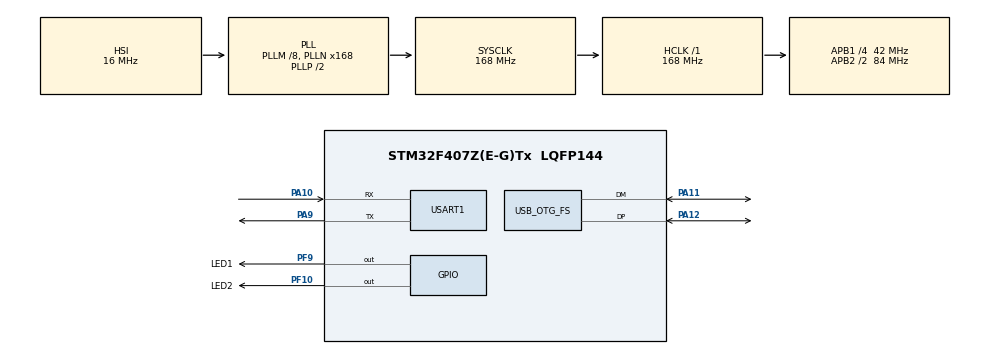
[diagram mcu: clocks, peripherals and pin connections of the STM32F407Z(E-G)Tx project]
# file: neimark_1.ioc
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Mcu.Family=STM32F4
Mcu.Name=STM32F407Z(E-G)Tx
Mcu.Package=LQFP144
NVIC.OTG_FS_IRQn=true\:0\:0\:false\:false\:true\:false\:true\:true
NVIC.PriorityGroup=NVIC_PRIORITYGROUP_4
PA10.Mode=Asynchronous
PA10.Signal=USART1_RX
PA11.Mode=Device_Only
PA11.Signal=USB_OTG_FS_DM
PA12.Mode=Device_Only
PA12.Signal=USB_OTG_FS_DP
PA9.Mode=Asynchronous
PA9.Signal=USART1_TX
PF10.GPIO_Label=LED2
PF10.Signal=GPIO_Output
PF9.GPIO_Label=LED1
PF9.Signal=GPIO_Output
ProjectManager.HeapSize=0x200
ProjectManager.StackSize=0x400
ProjectManager.TargetToolchain=CMake
RCC.48MHZClocksFreq_Value=48000000
RCC.AHBFreq_Value=168000000
RCC.APB1CLKDivider=RCC_HCLK_DIV4
RCC.APB1Freq_Value=42000000
RCC.APB1TimFreq_Value=84000000
RCC.APB2CLKDivider=RCC_HCLK_DIV2
RCC.APB2Freq_Value=84000000
RCC.APB2TimFreq_Value=168000000
RCC.CortexFreq_Value=168000000
RCC.HCLKFreq_Value=168000000
RCC.HSE_VALUE=25000000
RCC.HSI_VALUE=16000000
RCC.LSE_VALUE=32768
RCC.PLLM=8
RCC.PLLN=168
RCC.PLLQ=7
RCC.PLLSource=RCC_PLLSOURCE_HSI
RCC.PLLSourceVirtualString=RCC_PLLSOURCE_HSI
RCC.SYSCLKFreq_VALUE=168000000
RCC.SYSCLKSource=RCC_SYSCLKSOURCE_PLLCLK
RCC.VCOOutputFreq_Value=336000000
USART1.VirtualMode=VM_ASYNC
USB_DEVICE.CLASS_NAME_FS=CDC
USB_DEVICE.VirtualMode-CDC_FS=Cdc
USB_DEVICE.VirtualModeFS=Cdc_FS
USB_OTG_FS.VirtualMode=Device_Only
VP_USB_DEVICE_VS_USB_DEVICE_CDC_FS.Mode=CDC_FS
board=custom

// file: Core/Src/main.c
/* USER CODE BEGIN Header */
/**
  ******************************************************************************
  * @file           : main.c
  * @brief          : Main program body
  ******************************************************************************
  * @attention
  *
  * Copyright (c) 2024 STMicroelectronics.
  * All rights reserved.
  *
  * This software is licensed under terms that can be found in the LICENSE file
  * in the root directory of this software component.
  * If no LICENSE file comes with this software, it is provided AS-IS.
  *
  ******************************************************************************
  */
/* USER CODE END Header */
#include "main.h"
#include "usb_device.h"

/* USER CODE BEGIN Includes */
#include <usbd_cdc_if.h>
#include <stdint.h>
#include <stdio.h>
#include <unistd.h>
#include <string.h>
#include <stdlib.h>
#include "ring_buffer.h"
#include "jsmn.h"
/* USER CODE END Includes */

/* USER CODE BEGIN PD */
#define PUTCHAR_PROTOTYPE int __io_putchar(int ch)
#define CDC_TX_SINGLE_BUFF_MAXLEN 128
#define CDC_RX_TOTAL_BUFF_MAXLEN 1024
#define CDC_RX_SINGLE_BUFF_MAXLEN (CDC_RX_TOTAL_BUFF_MAXLEN / 8)
#define TOKEN_MAX_LEN 32
#define TOKENS_MAX_NUM 128
/* USER CODE END PD */

/* USER CODE BEGIN PM */
#ifdef TOKEN_DEBUG
#define PRINT_TOKEN(i,s) printf("token %d: type: %d start: %d end: %d value string: %s\n\r", (i), tokens[(i)].type, tokens[(i)].start, tokens[(i)].end, (s))
#else
#define PRINT_TOKEN(i,s) while(0)
#endif
/* USER CODE END PM */

UART_HandleTypeDef huart1;
/* USER CODE BEGIN PV */
char cdc_tx[CDC_TX_SINGLE_BUFF_MAXLEN];
char cdc_rx_total[CDC_RX_TOTAL_BUFF_MAXLEN];
char cdc_rx[CDC_RX_SINGLE_BUFF_MAXLEN];
RING_buffer_t cdc_rx_ring;
jsmn_parser jsonparser;
jsmntok_t tokens[TOKENS_MAX_NUM];

/* USER CODE END PV */

void SystemClock_Config(void);
static void MX_GPIO_Init(void);
static void MX_USART1_UART_Init(void);

/* USER CODE BEGIN 0 */
void token_load(char* str, int n, int str_size) {
  memset(str, 0x0, str_size);
  memcpy(str, (char*)(cdc_rx+tokens[n].start), (tokens[n].end-tokens[n].start));
}

int value_cmpnload(int* val, int n, char* token, const char* key) {
  if(!strcmp(token, key)) {
    if(tokens[n+1].type == JSMN_PRIMITIVE) {
      char nt[TOKEN_MAX_LEN];
      token_load(nt, n+1, TOKEN_MAX_LEN);
      *val = atoi(nt);
    } else {
      return -1;
    }
  }
  return 0;
}

int gpio_message_load(gpio_message_t* gpio_msg, int token_cnt_max) {
  for(int i = 3; i < token_cnt_max; i++) {
    char singletoken[TOKEN_MAX_LEN];
    token_load(singletoken, i, TOKEN_MAX_LEN);
    PRINT_TOKEN(i, singletoken);
    if(value_cmpnload((int*) &(gpio_msg->port), i, singletoken, gpioport_key)) {
      return -1;
    }
    if(value_cmpnload((int*) &(gpio_msg->pin), i, singletoken, gpiopin_key)) {
      return -2;
    }
    if(value_cmpnload((int*) &(gpio_msg->val), i, singletoken, gpioval_key)) {
      return -3;
    }
  }
  return 0;
}

void gen_ret_json(ret_result_t result, char* jsonstr) {
  sprintf(jsonstr, "{ \"result\" : %d }\n\r", result);
}
/* USER CODE END 0 */

int main(void)
{

  /* MCU Configuration--------------------------------------------------------*/

  /* Reset of all peripherals, Initializes the Flash interface and the Systick. */
  HAL_Init();

  /* Configure the system clock */
  SystemClock_Config();

  /* Initialize all configured peripherals */
  MX_GPIO_Init();
  MX_USART1_UART_Init();
  MX_USB_DEVICE_Init();
  /* USER CODE BEGIN 2 */
  RING_Init(&cdc_rx_ring, (uint8_t*) cdc_rx_total, CDC_RX_TOTAL_BUFF_MAXLEN);
  jsmn_init(&jsonparser);
  /* USER CODE END 2 */

  /* Infinite loop */
  for(;;)
  {

    /* USER CODE BEGIN 3 */
    uint16_t ring_cnt = RING_GetCount(&cdc_rx_ring);
    if(ring_cnt) {
      char cts[TOKEN_MAX_LEN] = {0, };   // current token string
      RING_PopString(&cdc_rx_ring, cdc_rx);
      int rc = jsmn_parse(&jsonparser, cdc_rx, strlen(cdc_rx), tokens, (sizeof(tokens)/sizeof(tokens[0])));
      if(rc > 0) {
        printf("json found\n\r");
        int if_type = -1;
        if(tokens[1].type == JSMN_STRING) {
          printf("if cmd found\n\r");
          token_load(cts, 1, TOKEN_MAX_LEN);
          value_cmpnload(&if_type, 1, cts, ifcmd);
        }
        switch(if_type) {
          case 0:
          printf("GPIO cmd found\n\r");
          gpio_message_t gpio_msg;
          rc = gpio_message_load(&gpio_msg, TOKENS_MAX_NUM);
          printf("gpio_message_load: rc = %d\n\r", rc);
          printf("GPIO port = %d\n\r", gpio_msg.port);
          printf("GPIO pin = %d\n\r", gpio_msg.pin);
          printf("GPIO val = %d\n\r", gpio_msg.val);
          HAL_GPIO_WritePin(gpio_msg.port, gpio_msg.pin, gpio_msg.val);
          // re-using cts string for memory saving
          if (HAL_GPIO_ReadPin(gpio_msg.port, gpio_msg.pin) == gpio_msg.val) {
            gen_ret_json(RET_OK, cts);
          } else {
            gen_ret_json(RET_ERR, cts);
          }
          break;

          default:
          printf("no compatible if found!\n\r");
          gen_ret_json(RET_ERR, cts);
          break;
        }
        CDC_Transmit_FS(cts, TOKEN_MAX_LEN);
      }
      memset(cdc_rx, 0x0, CDC_RX_SINGLE_BUFF_MAXLEN);
    }
    HAL_Delay(500);
  }
  /* USER CODE END 3 */
}

void SystemClock_Config(void)
{
  RCC_OscInitTypeDef RCC_OscInitStruct = {0};
  RCC_ClkInitTypeDef RCC_ClkInitStruct = {0};

  /** Configure the main internal regulator output voltage
  */
  __HAL_RCC_PWR_CLK_ENABLE();
  __HAL_PWR_VOLTAGESCALING_CONFIG(PWR_REGULATOR_VOLTAGE_SCALE1);

  /** Initializes the RCC Oscillators according to the specified parameters
  * in the RCC_OscInitTypeDef structure.
  */
  RCC_OscInitStruct.OscillatorType = RCC_OSCILLATORTYPE_HSI;
  RCC_OscInitStruct.HSIState = RCC_HSI_ON;
  RCC_OscInitStruct.HSICalibrationValue = RCC_HSICALIBRATION_DEFAULT;
  RCC_OscInitStruct.PLL.PLLState = RCC_PLL_ON;
  RCC_OscInitStruct.PLL.PLLSource = RCC_PLLSOURCE_HSI;
  RCC_OscInitStruct.PLL.PLLM = 8;
  RCC_OscInitStruct.PLL.PLLN = 168;
  RCC_OscInitStruct.PLL.PLLP = RCC_PLLP_DIV2;
  RCC_OscInitStruct.PLL.PLLQ = 7;
  if (HAL_RCC_OscConfig(&RCC_OscInitStruct) != HAL_OK)
  {
    Error_Handler();
  }

  /** Initializes the CPU, AHB and APB buses clocks
  */
  RCC_ClkInitStruct.ClockType = RCC_CLOCKTYPE_HCLK|RCC_CLOCKTYPE_SYSCLK
                              |RCC_CLOCKTYPE_PCLK1|RCC_CLOCKTYPE_PCLK2;
  RCC_ClkInitStruct.SYSCLKSource = RCC_SYSCLKSOURCE_PLLCLK;
  RCC_ClkInitStruct.AHBCLKDivider = RCC_SYSCLK_DIV1;
  RCC_ClkInitStruct.APB1CLKDivider = RCC_HCLK_DIV4;
  RCC_ClkInitStruct.APB2CLKDivider = RCC_HCLK_DIV2;

  if (HAL_RCC_ClockConfig(&RCC_ClkInitStruct, FLASH_LATENCY_5) != HAL_OK)
  {
    Error_Handler();
  }
}

static void MX_USART1_UART_Init(void)
{

  huart1.Instance = USART1;
  huart1.Init.BaudRate = 115200;
  huart1.Init.WordLength = UART_WORDLENGTH_8B;
  huart1.Init.StopBits = UART_STOPBITS_1;
  huart1.Init.Parity = UART_PARITY_NONE;
  huart1.Init.Mode = UART_MODE_TX_RX;
  huart1.Init.HwFlowCtl = UART_HWCONTROL_NONE;
  huart1.Init.OverSampling = UART_OVERSAMPLING_16;
  if (HAL_UART_Init(&huart1) != HAL_OK)
  {
    Error_Handler();
  }

}

static void MX_GPIO_Init(void)
{
  GPIO_InitTypeDef GPIO_InitStruct = {0};

  /* GPIO Ports Clock Enable */
  __HAL_RCC_GPIOF_CLK_ENABLE();
  __HAL_RCC_GPIOA_CLK_ENABLE();

  /*Configure GPIO pin Output Level */
  HAL_GPIO_WritePin(GPIOF, LED1_Pin|LED2_Pin, GPIO_PIN_RESET);

  /*Configure GPIO pins : LED1_Pin LED2_Pin */
  GPIO_InitStruct.Pin = LED1_Pin|LED2_Pin;
  GPIO_InitStruct.Mode = GPIO_MODE_OUTPUT_PP;
  GPIO_InitStruct.Pull = GPIO_NOPULL;
  GPIO_InitStruct.Speed = GPIO_SPEED_FREQ_LOW;
  HAL_GPIO_Init(GPIOF, &GPIO_InitStruct);

/* USER CODE BEGIN MX_GPIO_Init_2 */
HAL_GPIO_WritePin(GPIOF, LED1_Pin|LED2_Pin, GPIO_PIN_SET);
/* USER CODE END MX_GPIO_Init_2 */
}

/* USER CODE BEGIN 4 */

/**
  * @brief USB CDC Rx interrupt handler
  * @param Buf - buffer with received message
  * @param Len - received message length
  * @retval None
  */
void USB_CDC_RxHandler(uint8_t* Buf, uint32_t Len)
{
#ifdef CDC_DEBUG
  printf("[CDC<-] %s %d\n\r", Buf, Len);
#endif
  if (Len <= CDC_RX_SINGLE_BUFF_MAXLEN) {
    if (strlen(Buf) == Len) {   // FIXME: need to properly catch zero-terminated string and put it into ring buffer
      RING_PutBuffr(&cdc_rx_ring, Buf, Len);
    }
  }
}

PUTCHAR_PROTOTYPE
{
  /* Place your implementation of fputc here */
  /* e.g. write a character to the USART1 and Loop until the end of transmission */
  HAL_UART_Transmit(&huart1, (uint8_t *)&ch, 1, 0xFFFF);

  return ch;
}

/* USER CODE END 4 */

void Error_Handler(void)
{
  __disable_irq();
  while (1)
  {
  }
}
